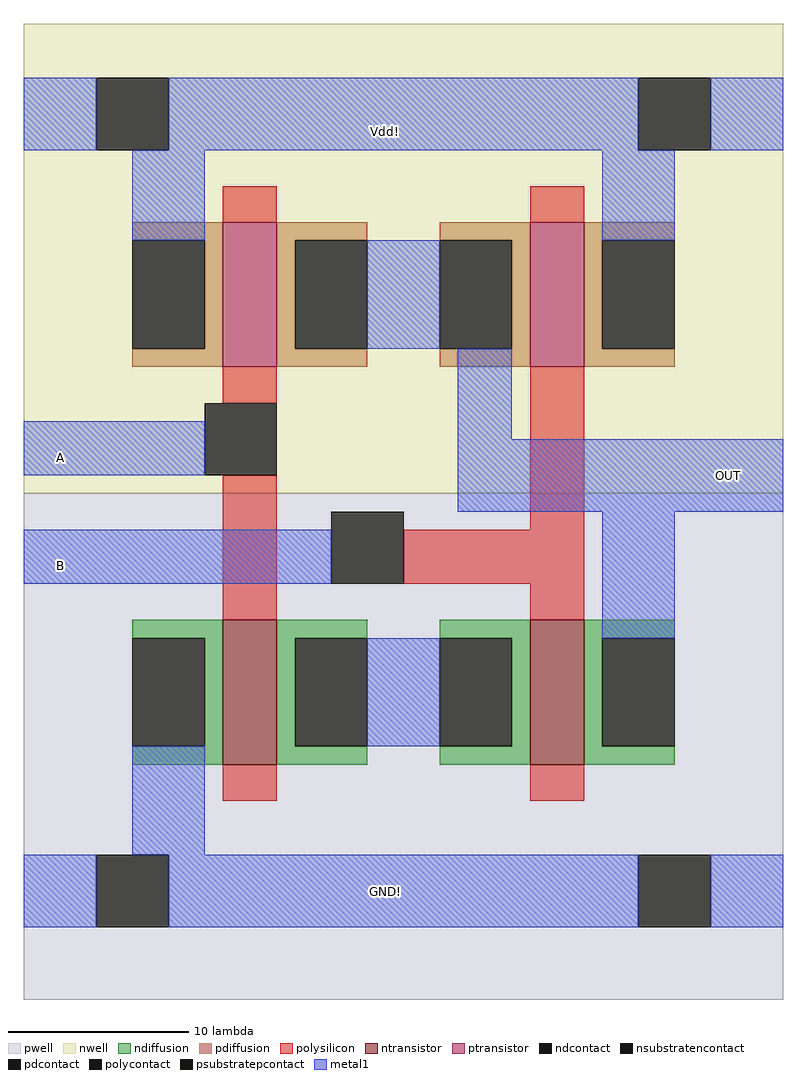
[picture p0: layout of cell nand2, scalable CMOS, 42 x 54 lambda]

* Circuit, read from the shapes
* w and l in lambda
.subckt nand2 A B GND! OUT Vdd!
M1 n1 A GND! GND! nfet w=8 l=3
M2 OUT B n1 GND! nfet w=8 l=3
M3 OUT A Vdd! Vdd! pfet w=8 l=3
M4 Vdd! B OUT Vdd! pfet w=8 l=3
.ends

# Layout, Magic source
magic
tech scmos
<< nwell >>
rect 0 28 42 54
<< pwell >>
rect 0 0 42 28
<< ntransistor >>
rect 11 13 14 21
rect 28 13 31 21
<< ptransistor >>
rect 11 35 14 43
rect 28 35 31 43
<< ndiffusion >>
rect 6 20 11 21
rect 10 14 11 20
rect 6 13 11 14
rect 14 20 19 21
rect 14 14 15 20
rect 14 13 19 14
rect 23 20 28 21
rect 27 14 28 20
rect 23 13 28 14
rect 31 20 36 21
rect 31 14 32 20
rect 31 13 36 14
<< pdiffusion >>
rect 6 42 11 43
rect 10 36 11 42
rect 6 35 11 36
rect 14 42 19 43
rect 14 36 15 42
rect 14 35 19 36
rect 23 42 28 43
rect 27 36 28 42
rect 23 35 28 36
rect 31 42 36 43
rect 31 36 32 42
rect 31 35 36 36
<< ndcontact >>
rect 6 14 10 20
rect 15 14 19 20
rect 23 14 27 20
rect 32 14 36 20
<< pdcontact >>
rect 6 36 10 42
rect 15 36 19 42
rect 23 36 27 42
rect 32 36 36 42
<< psubstratepcontact >>
rect 4 4 8 8
rect 34 4 38 8
<< nsubstratencontact >>
rect 4 47 8 51
rect 34 47 38 51
<< polysilicon >>
rect 11 43 14 45
rect 28 43 31 45
rect 11 33 14 35
rect 11 21 14 29
rect 28 26 31 35
rect 21 23 31 26
rect 28 21 31 23
rect 11 11 14 13
rect 28 11 31 13
<< polycontact >>
rect 10 29 14 33
rect 17 23 21 27
<< metal1 >>
rect 0 47 4 51
rect 8 47 34 51
rect 38 47 42 51
rect 6 42 10 47
rect 32 42 36 47
rect 19 36 23 42
rect 0 29 10 32
rect 24 31 27 36
rect 24 27 42 31
rect 0 23 17 26
rect 32 20 36 27
rect 19 14 23 20
rect 6 8 10 14
rect 0 4 4 8
rect 8 4 34 8
rect 38 4 42 8
<< labels >>
rlabel metal1 20 6 20 6 1 GND!
rlabel metal1 2 24 2 24 1 B
rlabel metal1 2 30 2 30 1 A
rlabel metal1 20 48 20 48 1 Vdd!
rlabel metal1 39 29 39 29 1 OUT
<< end >>
